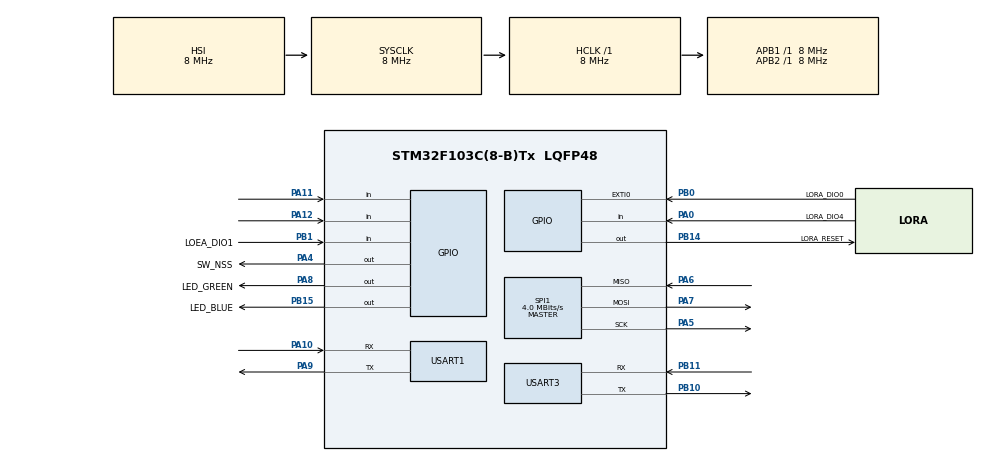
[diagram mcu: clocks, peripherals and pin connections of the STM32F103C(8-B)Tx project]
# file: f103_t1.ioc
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Mcu.Family=STM32F1
Mcu.Name=STM32F103C(8-B)Tx
Mcu.Package=LQFP48
NVIC.EXTI0_IRQn=true\:0\:0\:false\:false\:true\:true\:true\:true
NVIC.PriorityGroup=NVIC_PRIORITYGROUP_4
NVIC.TIM1_UP_IRQn=true\:0\:0\:false\:false\:true\:true\:true\:true
NVIC.TIM3_IRQn=true\:0\:0\:false\:false\:true\:true\:true\:true
NVIC.USART1_IRQn=true\:0\:0\:false\:false\:true\:true\:true\:true
NVIC.USART3_IRQn=true\:0\:0\:false\:false\:true\:true\:true\:true
PA0-WKUP.GPIO_Label=LORA_DIO4
PA0-WKUP.Signal=GPIO_Input
PA10.Mode=Asynchronous
PA10.Signal=USART1_RX
PA11.Signal=GPIO_Input
PA12.Signal=GPIO_Input
PA13.Mode=Serial_Wire
PA13.Signal=SYS_JTMS-SWDIO
PA14.Mode=Serial_Wire
PA14.Signal=SYS_JTCK-SWCLK
PA4.GPIO_Label=SW_NSS
PA4.Signal=GPIO_Output
PA5.Mode=Full_Duplex_Master
PA5.Signal=SPI1_SCK
PA6.Mode=Full_Duplex_Master
PA6.Signal=SPI1_MISO
PA7.Mode=Full_Duplex_Master
PA7.Signal=SPI1_MOSI
PA8.GPIO_Label=LED_GREEN
PA8.Signal=GPIO_Output
PA9.Mode=Asynchronous
PA9.Signal=USART1_TX
PB0.GPIO_Label=LORA_DIO0
PB0.Signal=GPXTI0
PB1.GPIO_Label=LOEA_DIO1
PB1.Signal=GPIO_Input
PB10.Mode=Asynchronous
PB10.Signal=USART3_TX
PB11.Mode=Asynchronous
PB11.Signal=USART3_RX
PB14.GPIO_Label=LORA_RESET
PB14.Signal=GPIO_Output
PB15.GPIO_Label=LED_BLUE
PB15.Signal=GPIO_Output
PC14-OSC32_IN.Mode=LSE-External-Clock-Source
PC14-OSC32_IN.Signal=RCC_OSC32_IN
PC15-OSC32_OUT.Mode=LSE-External-Clock-Source
PC15-OSC32_OUT.Signal=RCC_OSC32_OUT
PD0-OSC_IN.Mode=HSE-External-Clock-Source
PD0-OSC_IN.Signal=RCC_OSC_IN
PD1-OSC_OUT.Mode=HSE-External-Clock-Source
PD1-OSC_OUT.Signal=RCC_OSC_OUT
ProjectManager.HeapSize=0x200
ProjectManager.StackSize=0x400
ProjectManager.TargetToolchain=MDK-ARM V5
RCC.AHBFreq_Value=8000000
RCC.APB1Freq_Value=8000000
RCC.APB1TimFreq_Value=8000000
RCC.APB2Freq_Value=8000000
RCC.APB2TimFreq_Value=8000000
RCC.HCLKFreq_Value=8000000
RCC.PLLSourceVirtual=RCC_PLLSOURCE_HSE
RCC.SYSCLKFreq_VALUE=8000000
RCC.USBFreq_Value=16000000
SPI1.CalculateBaudRate=4.0 MBits/s
SPI1.Direction=SPI_DIRECTION_2LINES
SPI1.Mode=SPI_MODE_MASTER
SPI1.VirtualType=VM_MASTER
TIM1.AutoReloadPreload=TIM_AUTORELOAD_PRELOAD_ENABLE
TIM1.Period=100
TIM1.Prescaler=8000-1
TIM3.AutoReloadPreload=TIM_AUTORELOAD_PRELOAD_ENABLE
TIM3.Period=1000
TIM3.Prescaler=8000-1
USART1.VirtualMode=VM_ASYNC
USART3.VirtualMode=VM_ASYNC
VP_TIM1_VS_ClockSourceINT.Mode=Internal
VP_TIM3_VS_ClockSourceINT.Mode=Internal
board=custom

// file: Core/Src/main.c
/* USER CODE BEGIN Header */
/**
  ******************************************************************************
  * @file           : main.c
  * @brief          : Main program body
  ******************************************************************************
  * @attention
  *
  * Copyright (c) 2025 STMicroelectronics.
  * All rights reserved.
  *
  * This software is licensed under terms that can be found in the LICENSE file
  * in the root directory of this software component.
  * If no LICENSE file comes with this software, it is provided AS-IS.
  *
  ******************************************************************************
  */
/* USER CODE END Header */
#include "main.h"

/* USER CODE BEGIN Includes */
#include "global_define.h"
#include "system_def.h"
#include "global_define.h"
#include "SX1278_hw.h"
#include "SX1278.h"
#include <stdio.h>
#include "lora_task.h"
/* USER CODE END Includes */

/* USER CODE BEGIN PTD */
#define _FORCE_UR3_9600 1
/* USER CODE END PTD */

SPI_HandleTypeDef hspi1;

TIM_HandleTypeDef htim1;
TIM_HandleTypeDef htim3;

UART_HandleTypeDef huart1;
UART_HandleTypeDef huart3;

/* USER CODE BEGIN PV */
uint8_t aRxBuffer;
uint8_t UR3RxBuf_cnt = 0;		//
uint8_t UR3RxBuf_rxleng = 4;
uint8_t UR3RxBuf_rxleng_lat=0;
unsigned char UR3TxBuf[UR1_BUFSZ];
unsigned char UR3RxBuf[UR1_BUFSZ];

unsigned char UR3TxBuf2[UR1_BUFSZ];

unsigned char SPI1TxBuf[SPI_BUFSZ];
unsigned char SPI1RxBuf[SPI_BUFSZ];

unsigned char TEMPBuf1[32];
unsigned char TEMPBuf2[32];

int SPI1RxBuf_leng=0;

/* USER CODE END PV */

void SystemClock_Config(void);
static void MX_GPIO_Init(void);
static void MX_SPI1_Init(void);
static void MX_TIM1_Init(void);
static void MX_TIM3_Init(void);
static void MX_USART1_UART_Init(void);
static void MX_USART3_UART_Init(void);

/* USER CODE BEGIN 0 */
SX1278_hw_t SX1278_hw;
SX1278_t SX1278;

int master;
int ret;

char buffer[512];

int message;
int message_length;

/* USER CODE END 0 */

int main(void)
{
  /* USER CODE BEGIN 1 */
  int i;
  int reti;
  int erri;
  /* USER CODE END 1 */

  /* MCU Configuration--------------------------------------------------------*/

  /* Reset of all peripherals, Initializes the Flash interface and the Systick. */
  HAL_Init();

  /* Configure the system clock */
  SystemClock_Config();

  /* USER CODE BEGIN SysInit */
  master=0;
  /* USER CODE END SysInit */

  /* Initialize all configured peripherals */
  MX_GPIO_Init();
  MX_SPI1_Init();
  MX_TIM1_Init();
  MX_TIM3_Init();
  MX_USART1_UART_Init();
  MX_USART3_UART_Init();
  /* USER CODE BEGIN 2 */
  parameter_init();
  //uart1
  HAL_UART_Receive_IT(&huart3, (uint8_t *)&aRxBuffer, 1);
  //send uart1

  UR3TxBuf[0] = 0x4c;UR3TxBuf[1] = 0x52;UR3TxBuf[2] = 0x6d;UR3TxBuf[3] = 0x31;UR3TxBuf[4] = 0x30;UR3TxBuf[5] = 0x33;UR3TxBuf[6] = 0x32;
  if(master ==0)
  {UR3TxBuf[2] = 0x73;}
  SendUART3(7);HAL_Delay (100);

  HAL_TIM_Base_Start_IT(&htim1);
  HAL_TIM_Base_Start_IT(&htim3);
  __HAL_SPI_ENABLE(&hspi1);

	//initialize LoRa module
	SX1278_hw.dio0.port = DIO0_GPIO_Port;
	SX1278_hw.dio0.pin = DIO0_Pin;
	SX1278_hw.nss.port = NSS_GPIO_Port;
	SX1278_hw.nss.pin = NSS_Pin;
	SX1278_hw.reset.port = RESET_GPIO_Port;
	SX1278_hw.reset.pin = RESET_Pin;
	SX1278_hw.spi = &hspi1;

	SX1278.hw = &SX1278_hw;

	SX1278_init(&SX1278, 434000000, SX1278_POWER_17DBM, SX1278_LORA_SF_7,
	SX1278_LORA_BW_125KHZ, SX1278_LORA_CR_4_5, SX1278_LORA_CRC_EN, 10);

	if (master == 1) {
		ret = SX1278_LoRaEntryTx(&SX1278, 16, 2000);
		HAL_GPIO_WritePin(LED_GPIO_Port, LED_Pin, GPIO_PIN_SET);
	} else {
		ret = SX1278_LoRaEntryRx(&SX1278, 16, 2000);
		HAL_GPIO_WritePin(LED_GPIO_Port, LED_Pin, GPIO_PIN_RESET);
	}
  //parameter
  message=0;
  master_status=0;
  /* USER CODE END 2 */

  /* Infinite loop */
  /* USER CODE BEGIN WHILE */
  while (1)
  {
    if((gSYS_ACT_flag & 0x1) == 0x1)
    {
        gSYS_ACT_flag &=0xfffffffe;
        //  HAL_GPIO_WritePin(GPIOB,LED_BLUE_Pin,GPIO_PIN_SET);
        //HAL_GPIO_TogglePin(GPIOB,LED_BLUE_Pin);
      if (master == 1) {
        if(gSYS_100ms_cnt == 0)
        {

          SX1278_LoRaEntryTx(&SX1278, 16, 2000);
          //sending beacon
          //message_length = sprintf(buffer, "Hello %d", message);
          message_length = compose_beacon(&UR3TxBuf[0],gSYS_100ms_cnt,message);
          reti = SX1278_LoRaEntryTx(&SX1278, message_length, 2000);
          master_status = 1;
          //ret = SX1278_LoRaTxPacket(&SX1278, (uint8_t*) buffer,message_length, 2000);
          reti = SX1278_LoRaTxPacket(&SX1278, &UR3TxBuf[0],message_length, 2000);
          //
          //message++;
          //UR3TxBuf[0] = message;SendUART3(1);HAL_Delay (10);
        }
        else if(gSYS_100ms_cnt == 2)
        {
          //master sending
          #if 1
          message_length = send_info_r(&UR3TxBuf[0],gSYS_100ms_cnt,0x81,message);
          //no need to re-enter tx??
          reti = SX1278_LoRaEntryTx(&SX1278, message_length, 2000);
          //advance
          message++;gSYS_MST_txcnt++;
          //UR3TxBuf[0] = message;SendUART3(1);HAL_Delay (5);
          master_status = 1;
          reti = SX1278_LoRaTxPacket(&SX1278, &UR3TxBuf[0],message_length, 2000);
          #endif
        }
        else if(gSYS_100ms_cnt == 4)
        {
          //master enter rx
          ret = SX1278_LoRaEntryRx(&SX1278, 16, 2000);
          master_status=3;
          HAL_GPIO_TogglePin(GPIOB,LED_BLUE_Pin);
          //UR3TxBuf[0] = message;SendUART3(1);HAL_Delay (100);

        }

      }  //end of master == 1
      else{ //slave
        if(gSYS_100ms_cnt == 0)
        {
          HAL_GPIO_TogglePin(GPIOB,LED_BLUE_Pin);
        }
        else if(gSYS_100ms_cnt == slave_rsp_flag)
		    {
		      slave_rsp_flag = 100;//disable
          //slave tx response
          slave_status = 1;
          reti = SX1278_LoRaEntryTx(&SX1278, slave_rsp_leng, 2000);
          reti = SX1278_LoRaTxPacket(&SX1278, &SPI1TxBuf[0],slave_rsp_leng, 2000);
		    }
		    else if(gSYS_100ms_cnt == slave_rx_flag)
        {
          //back to rx
          ret = SX1278_LoRaEntryRx(&SX1278, 16, 2000);
          slave_status=3;
        }
      }
#ifndef __EN_DIO0_INT
      else {

			ret = SX1278_LoRaRxPacket(&SX1278);
			//printf("Received: %d\r\n", ret);
			if (ret > 0) {

				SX1278_read(&SX1278, (uint8_t*) buffer, ret);
				//printf("Content (%d): %s\r\n", ret, buffer);
        for(i=0;i<ret;i++)
        {
          UR3TxBuf[i] = *(buffer+i);

        }
        SendUART3(ret);HAL_Delay (100);
			}
      }
#endif
    }
    else if((gSYS_ACT_flag & 0x2) == 0x2)
    {
      gSYS_ACT_flag &=0xfffffffd;
      HAL_GPIO_TogglePin(LED_GREEN_GPIO_Port,LED_GREEN_Pin);
      SPI1TxBuf[0] = 0x42;
      //HAL_SPI_TransmitReceive_IT(&hspi1,&SPI1TxBuf[0],&SPI1RxBuf[0],2);
    }
    else if((gSYS_ACT_flag & 0x4) == 0x4)
    {
      gSYS_ACT_flag &=0xfffffffb;
	    if(master == 1)
	    {
		    master_status = 5;//master rx_done
        gRXPARAM_rssi = SX1278_RSSI_LoRa(&SX1278);
        gRXPARAM_snr = SX1278_ESTSNR_LoRa(&SX1278);
        gSYS_MST_rxcnt++;
        if(gSYS_MST_errcnt < 1000)
        {gSYS_MST_errcnt = gSYS_MST_txcnt - gSYS_MST_rxcnt;        }
        //show master rx
        #ifdef _EN_MST_SHOW_RAWBTE
          UR3TxBuf[0] = 0x10;
          UR3TxBuf[1] = 0x08;

          UR3TxBuf[2] = SPI1RxBuf[7];//seq no
          UR3TxBuf[3] = gRXPARAM_rssi;
          UR3TxBuf[4] = gRXPARAM_snr;
          UR3TxBuf[5] = 0;
          UR3TxBuf[6] = 0;
          UR3TxBuf[7] = 0x0a;
          SendUART3(8);HAL_Delay (5);
        #else
          TEMPBuf1[0] = gRXPARAM_rssi;//rssi
          TEMPBuf1[1] = gRXPARAM_snr;//snr
          //TEMPBuf1[2] = (unsigned char)((gSYS_MST_txcnt>>16)&0xff);
          TEMPBuf1[2] = (unsigned char)((gSYS_MST_txcnt>>8)&0xff);
          TEMPBuf1[3] = (unsigned char)((gSYS_MST_txcnt>>0)&0xff);
          //TEMPBuf1[5] = (unsigned char)((gSYS_MST_errcnt>>16)&0xff);
          TEMPBuf1[4] = (unsigned char)((gSYS_MST_errcnt>>8)&0xff);
          TEMPBuf1[5] = (unsigned char)((gSYS_MST_errcnt>>0)&0xff);
          reti = compose_rsptxt(&TEMPBuf1[0],&UR3TxBuf[0],6,1);
          SendUART3(reti);HAL_Delay (5);
        #endif

         master_status = 3;//master rx_idle
	    }
      else //slave
	    {
          //
          erri = decode_slvrxdata(&SPI1RxBuf[0],&reti,&SPI1TxBuf[0]);
          slave_status = 5;
		      //compose response data,register time slot
          UR3TxBuf[0] = 0x55;
          UR3TxBuf[1] = reti&0xff;
          if(reti >0)
          {
            //reti > 0,slave will tx and back to rx
            slave_rsp_flag = 5;
		        slave_rx_flag = 7;
            slave_rsp_leng = reti;
            slave_status = 0;
            UR3TxBuf[1] = reti&0xff;
          }
          else
          {
            slave_status = 3;
            UR3TxBuf[1] = 0x00;
          }

          //show slave rx
          //UR3TxBuf[0] = 0x55;
          //UR3TxBuf[1] = 0xaa;
		      if(reti >0)
		      {
            #if _EN_SLV_SHOW_RAWBTE
            for(i=0;i<SPI1RxBuf_leng;i++)
            {
              UR3TxBuf[i+2] = SPI1RxBuf[i];//*(buffer+i);
            }
            SendUART3(SPI1RxBuf_leng+2);HAL_Delay (5);
            #else
            TEMPBuf1[0] = SPI1TxBuf[4];//rssi
            TEMPBuf1[1] = SPI1TxBuf[5];//snr
            TEMPBuf1[2] = 0;
            TEMPBuf1[3] = SPI1TxBuf[7];
            TEMPBuf1[4] = gRXPARAM_errcnt;
            reti = compose_rsptxt(&TEMPBuf1[0],&UR3TxBuf[0],2,0);
            SendUART3(reti);HAL_Delay (5);
            #endif
          }

	      }
    }

    /* USER CODE END WHILE */

  }
}

void SystemClock_Config(void)
{
  RCC_OscInitTypeDef RCC_OscInitStruct = {0};
  RCC_ClkInitTypeDef RCC_ClkInitStruct = {0};

  /** Initializes the RCC Oscillators according to the specified parameters
  * in the RCC_OscInitTypeDef structure.
  */
  RCC_OscInitStruct.OscillatorType = RCC_OSCILLATORTYPE_HSI;
  RCC_OscInitStruct.HSIState = RCC_HSI_ON;
  RCC_OscInitStruct.HSICalibrationValue = RCC_HSICALIBRATION_DEFAULT;
  RCC_OscInitStruct.PLL.PLLState = RCC_PLL_NONE;
  if (HAL_RCC_OscConfig(&RCC_OscInitStruct) != HAL_OK)
  {
    Error_Handler();
  }

  /** Initializes the CPU, AHB and APB buses clocks
  */
  RCC_ClkInitStruct.ClockType = RCC_CLOCKTYPE_HCLK|RCC_CLOCKTYPE_SYSCLK
                              |RCC_CLOCKTYPE_PCLK1|RCC_CLOCKTYPE_PCLK2;
  RCC_ClkInitStruct.SYSCLKSource = RCC_SYSCLKSOURCE_HSI;
  RCC_ClkInitStruct.AHBCLKDivider = RCC_SYSCLK_DIV1;
  RCC_ClkInitStruct.APB1CLKDivider = RCC_HCLK_DIV1;
  RCC_ClkInitStruct.APB2CLKDivider = RCC_HCLK_DIV1;

  if (HAL_RCC_ClockConfig(&RCC_ClkInitStruct, FLASH_LATENCY_0) != HAL_OK)
  {
    Error_Handler();
  }
}

static void MX_SPI1_Init(void)
{

  /* SPI1 parameter configuration*/
  hspi1.Instance = SPI1;
  hspi1.Init.Mode = SPI_MODE_MASTER;
  hspi1.Init.Direction = SPI_DIRECTION_2LINES;
  hspi1.Init.DataSize = SPI_DATASIZE_8BIT;
  hspi1.Init.CLKPolarity = SPI_POLARITY_LOW;
  hspi1.Init.CLKPhase = SPI_PHASE_1EDGE;
  hspi1.Init.NSS = SPI_NSS_SOFT;
  hspi1.Init.BaudRatePrescaler = SPI_BAUDRATEPRESCALER_2;
  hspi1.Init.FirstBit = SPI_FIRSTBIT_MSB;
  hspi1.Init.TIMode = SPI_TIMODE_DISABLE;
  hspi1.Init.CRCCalculation = SPI_CRCCALCULATION_DISABLE;
  hspi1.Init.CRCPolynomial = 10;
  if (HAL_SPI_Init(&hspi1) != HAL_OK)
  {
    Error_Handler();
  }

}

static void MX_TIM1_Init(void)
{

  TIM_ClockConfigTypeDef sClockSourceConfig = {0};
  TIM_MasterConfigTypeDef sMasterConfig = {0};

  htim1.Instance = TIM1;
  htim1.Init.Prescaler = 8000-1;
  htim1.Init.CounterMode = TIM_COUNTERMODE_UP;
  htim1.Init.Period = 100;
  htim1.Init.ClockDivision = TIM_CLOCKDIVISION_DIV1;
  htim1.Init.RepetitionCounter = 0;
  htim1.Init.AutoReloadPreload = TIM_AUTORELOAD_PRELOAD_ENABLE;
  if (HAL_TIM_Base_Init(&htim1) != HAL_OK)
  {
    Error_Handler();
  }
  sClockSourceConfig.ClockSource = TIM_CLOCKSOURCE_INTERNAL;
  if (HAL_TIM_ConfigClockSource(&htim1, &sClockSourceConfig) != HAL_OK)
  {
    Error_Handler();
  }
  sMasterConfig.MasterOutputTrigger = TIM_TRGO_RESET;
  sMasterConfig.MasterSlaveMode = TIM_MASTERSLAVEMODE_DISABLE;
  if (HAL_TIMEx_MasterConfigSynchronization(&htim1, &sMasterConfig) != HAL_OK)
  {
    Error_Handler();
  }

}

static void MX_TIM3_Init(void)
{

  TIM_ClockConfigTypeDef sClockSourceConfig = {0};
  TIM_MasterConfigTypeDef sMasterConfig = {0};

  htim3.Instance = TIM3;
  htim3.Init.Prescaler = 8000-1;
  htim3.Init.CounterMode = TIM_COUNTERMODE_UP;
  htim3.Init.Period = 1000;
  htim3.Init.ClockDivision = TIM_CLOCKDIVISION_DIV1;
  htim3.Init.AutoReloadPreload = TIM_AUTORELOAD_PRELOAD_ENABLE;
  if (HAL_TIM_Base_Init(&htim3) != HAL_OK)
  {
    Error_Handler();
  }
  sClockSourceConfig.ClockSource = TIM_CLOCKSOURCE_INTERNAL;
  if (HAL_TIM_ConfigClockSource(&htim3, &sClockSourceConfig) != HAL_OK)
  {
    Error_Handler();
  }
  sMasterConfig.MasterOutputTrigger = TIM_TRGO_RESET;
  sMasterConfig.MasterSlaveMode = TIM_MASTERSLAVEMODE_DISABLE;
  if (HAL_TIMEx_MasterConfigSynchronization(&htim3, &sMasterConfig) != HAL_OK)
  {
    Error_Handler();
  }

}

static void MX_USART1_UART_Init(void)
{

  huart1.Instance = USART1;
  huart1.Init.BaudRate = 115200;
  huart1.Init.WordLength = UART_WORDLENGTH_8B;
  huart1.Init.StopBits = UART_STOPBITS_1;
  huart1.Init.Parity = UART_PARITY_NONE;
  huart1.Init.Mode = UART_MODE_TX_RX;
  huart1.Init.HwFlowCtl = UART_HWCONTROL_NONE;
  huart1.Init.OverSampling = UART_OVERSAMPLING_16;
  if (HAL_UART_Init(&huart1) != HAL_OK)
  {
    Error_Handler();
  }

}

static void MX_USART3_UART_Init(void)
{

  huart3.Instance = USART3;
  #ifndef _FORCE_UR3_9600
  huart3.Init.BaudRate = 115200;
  #else
  huart3.Init.BaudRate = 9600;
  #endif
  huart3.Init.WordLength = UART_WORDLENGTH_8B;
  huart3.Init.StopBits = UART_STOPBITS_1;
  huart3.Init.Parity = UART_PARITY_NONE;
  huart3.Init.Mode = UART_MODE_TX_RX;
  huart3.Init.HwFlowCtl = UART_HWCONTROL_NONE;
  huart3.Init.OverSampling = UART_OVERSAMPLING_16;
  if (HAL_UART_Init(&huart3) != HAL_OK)
  {
    Error_Handler();
  }

}

static void MX_GPIO_Init(void)
{
  GPIO_InitTypeDef GPIO_InitStruct = {0};

  /* GPIO Ports Clock Enable */
  __HAL_RCC_GPIOC_CLK_ENABLE();
  __HAL_RCC_GPIOD_CLK_ENABLE();
  __HAL_RCC_GPIOA_CLK_ENABLE();
  __HAL_RCC_GPIOB_CLK_ENABLE();

  /*Configure GPIO pin Output Level */
  HAL_GPIO_WritePin(GPIOA, SW_NSS_Pin|LED_GREEN_Pin, GPIO_PIN_RESET);

  /*Configure GPIO pin Output Level */
  HAL_GPIO_WritePin(GPIOB, LORA_RESET_Pin|LED_BLUE_Pin, GPIO_PIN_RESET);

  /*Configure GPIO pins : LORA_DIO4_Pin PA11 PA12 */
  GPIO_InitStruct.Pin = LORA_DIO4_Pin|GPIO_PIN_11|GPIO_PIN_12;
  GPIO_InitStruct.Mode = GPIO_MODE_INPUT;
  GPIO_InitStruct.Pull = GPIO_NOPULL;
  HAL_GPIO_Init(GPIOA, &GPIO_InitStruct);

  /*Configure GPIO pins : SW_NSS_Pin LED_GREEN_Pin */
  GPIO_InitStruct.Pin = SW_NSS_Pin|LED_GREEN_Pin;
  GPIO_InitStruct.Mode = GPIO_MODE_OUTPUT_PP;
  GPIO_InitStruct.Pull = GPIO_NOPULL;
  GPIO_InitStruct.Speed = GPIO_SPEED_FREQ_LOW;
  HAL_GPIO_Init(GPIOA, &GPIO_InitStruct);

  /*Configure GPIO pin : LORA_DIO0_Pin */
  GPIO_InitStruct.Pin = LORA_DIO0_Pin;
  GPIO_InitStruct.Mode = GPIO_MODE_IT_RISING;
  GPIO_InitStruct.Pull = GPIO_NOPULL;
  HAL_GPIO_Init(LORA_DIO0_GPIO_Port, &GPIO_InitStruct);

  /*Configure GPIO pin : LOEA_DIO1_Pin */
  GPIO_InitStruct.Pin = LOEA_DIO1_Pin;
  GPIO_InitStruct.Mode = GPIO_MODE_INPUT;
  GPIO_InitStruct.Pull = GPIO_NOPULL;
  HAL_GPIO_Init(LOEA_DIO1_GPIO_Port, &GPIO_InitStruct);

  /*Configure GPIO pins : LORA_RESET_Pin LED_BLUE_Pin */
  GPIO_InitStruct.Pin = LORA_RESET_Pin|LED_BLUE_Pin;
  GPIO_InitStruct.Mode = GPIO_MODE_OUTPUT_PP;
  GPIO_InitStruct.Pull = GPIO_NOPULL;
  GPIO_InitStruct.Speed = GPIO_SPEED_FREQ_LOW;
  HAL_GPIO_Init(GPIOB, &GPIO_InitStruct);

  /* EXTI interrupt init*/
  HAL_NVIC_SetPriority(EXTI0_IRQn, 0, 0);
  HAL_NVIC_EnableIRQ(EXTI0_IRQn);

}

/* USER CODE BEGIN 4 */
void HAL_UART_RxCpltCallback(UART_HandleTypeDef *huart)
{
  /* Prevent unused argument(s) compilation warning */
  UNUSED(huart);
  /* NOTE: This function Should not be modified, when the callback is needed,
           the HAL_UART_TxCpltCallback could be implemented in the user file
   */
  if(UR3RxBuf_cnt ==0)
	{
		//check command
		//if((aRxBuffer == CMD_ECHO)|(aRxBuffer == CMD_REGW)|(aRxBuffer == CMD_REGR)|(aRxBuffer == CMD_STAT)|(aRxBuffer == CMD_CTRL))
		{
		UR3RxBuf[UR3RxBuf_cnt] = aRxBuffer;
		UR3RxBuf_cnt++;
		}
	}
	else if (UR3RxBuf_cnt ==1)
	{
		UR3RxBuf_rxleng = aRxBuffer;
		UR3RxBuf[UR3RxBuf_cnt] = UR3RxBuf_rxleng;UR3RxBuf_cnt++;
		if(UR3RxBuf_rxleng > 32)//too large
		{
			UR3RxBuf_cnt=0;UR3RxBuf_rxleng=4;
		}
	}
	else if(UR3RxBuf_cnt == (UR3RxBuf_rxleng-1))
	{
		UR3RxBuf[UR3RxBuf_cnt] = aRxBuffer;
		UR3RxBuf_rxleng_lat = UR3RxBuf_rxleng;
		UR3RxBuf_cnt=0;
		gSYS_ACT_flag|=0x2;
	}
	else
	{
		UR3RxBuf[UR3RxBuf_cnt] = aRxBuffer;
		UR3RxBuf_cnt++;
	}

  HAL_UART_Receive_IT(&huart1, (uint8_t *)&aRxBuffer, 1);
}
void parameter_init(void)
{
  HAL_GPIO_WritePin(LED_GREEN_GPIO_Port,LED_GREEN_Pin,GPIO_PIN_RESET);
  HAL_GPIO_WritePin(GPIOB,LED_BLUE_Pin,GPIO_PIN_RESET);
  HAL_GPIO_WritePin(GPIOB,LORA_RESET_Pin,GPIO_PIN_RESET);
  HAL_GPIO_WritePin(GPIOB,LORA_RESET_Pin,GPIO_PIN_SET);
}

void SendUART3(uint8_t cnt)
{
  HAL_UART_Transmit_IT(&huart3, (uint8_t *)&UR3TxBuf, cnt);
}

void MultiSendUART3(uint16_t param)
{
	uint8_t cnt;
	uint8_t sel;

	cnt = (param&0xff);
	sel = (param>>8)&0x7;

	if(sel == 0)
    {HAL_UART_Transmit_IT(&huart3, (uint8_t *)&UR3TxBuf, cnt);}
    else if(sel == 1)
    {HAL_UART_Transmit_IT(&huart3, (uint8_t *)&UR3TxBuf2, cnt);}
}

void HAL_TIM_PeriodElapsedCallback(TIM_HandleTypeDef *htim)
{
  //BSP_LED_Toggle(LED2);

  if(htim->Instance ==TIM1)
  {
    if(gSYS_100ms_cnt == 9)
    {
      gSYS_100ms_cnt = 0;

      //SYS_10ms_fcnt=0;
      gSYS_ACT_flag |= 0x1;
    }
    else
    {
      gSYS_100ms_cnt ++;
      gSYS_ACT_flag |= 0x1;
      //if((gSYS_100ms_cnt == 9)||(gSYS_100ms_cnt == 19)||(gSYS_100ms_cnt == 29)||
      //   (gSYS_100ms_cnt == 39)||(gSYS_100ms_cnt == 49)||(gSYS_100ms_cnt == 59)||
      //   (gSYS_100ms_cnt == 69)||(gSYS_100ms_cnt == 79)||(gSYS_100ms_cnt == 89))
      //{
      //  SYS_10ms_fcnt=0;
      //  gSYS_ACT_flag |= 0x1;
      //}
      //else
      //{SYS_10ms_fcnt++;}

    }
  }
  else if(htim->Instance ==TIM3)
  {
    if(gSYS_SEC_cnt == 59)
    {
      gSYS_SEC_cnt = 0;

    }
    else
    {
      if((gSYS_SEC_cnt == 15)||(gSYS_SEC_cnt == 45))
      {gSYS_ACT_flag |= 0x2;}
      gSYS_SEC_cnt++;

    }
  }
}

void HAL_SPI_TxRxCpltCallback(SPI_HandleTypeDef *hspi)
{
  gSYS_ACT_flag|=0x4;
}
void HAL_GPIO_EXTI_Callback(uint16_t GPIO_Pin)
{
  uint8_t ret;

  if(GPIO_Pin == GPIO_PIN_0)
  {
    if(master == 1) //master mode
    {
      if(master_status == 1)
      {
        //tx is busy
        SX1278_SPIRead(&SX1278, LR_RegIrqFlags);
			  SX1278_clearLoRaIrq(&SX1278); //Clear irq
			  SX1278_standby(&SX1278); //Entry Standby mode

        master_status = 2;//tx done
      }
      else if(master_status == 3)
      {
        ret = SX1278_LoRaRxPacket(&SX1278);
        if (ret > 0) {

				//SX1278_read(&SX1278, (uint8_t*) buffer, ret);
          SX1278_read(&SX1278, &SPI1RxBuf[0], ret);
          SPI1RxBuf_leng=ret;
        }
        //SendUART3(ret);HAL_Delay (100);
        master_status = 4;
        gSYS_ACT_flag |= 0x4;
			}

    }
    else //slave mode
    {
       if(slave_status == 3) //rx idle and receive lora
       {
        ret = SX1278_LoRaRxPacket(&SX1278);
        if (ret > 0) {

				//SX1278_read(&SX1278, (uint8_t*) buffer, ret);
          SX1278_read(&SX1278, &SPI1RxBuf[0], ret);
          SPI1RxBuf_leng=ret;
        }
        //get CR,rssi,snr
        gRXPARAM_rssi = SX1278_RSSI_LoRa(&SX1278);
        gRXPARAM_snr = SX1278_ESTSNR_LoRa(&SX1278);
        //SendUART3(ret);HAL_Delay (100);
        slave_status = 4;
        gSYS_ACT_flag |= 0x4;
      }
      else if(slave_status == 1)
      {
        //tx is busy
        SX1278_SPIRead(&SX1278, LR_RegIrqFlags);
			  SX1278_clearLoRaIrq(&SX1278); //Clear irq
			  SX1278_standby(&SX1278); //Entry Standby mode

        slave_status = 2;//rsptx done
        //slave will back to rx at pre-defined time slot
      }
    }
  }
}
/* USER CODE END 4 */

void Error_Handler(void)
{
  __disable_irq();
  while (1)
  {
  }
}
